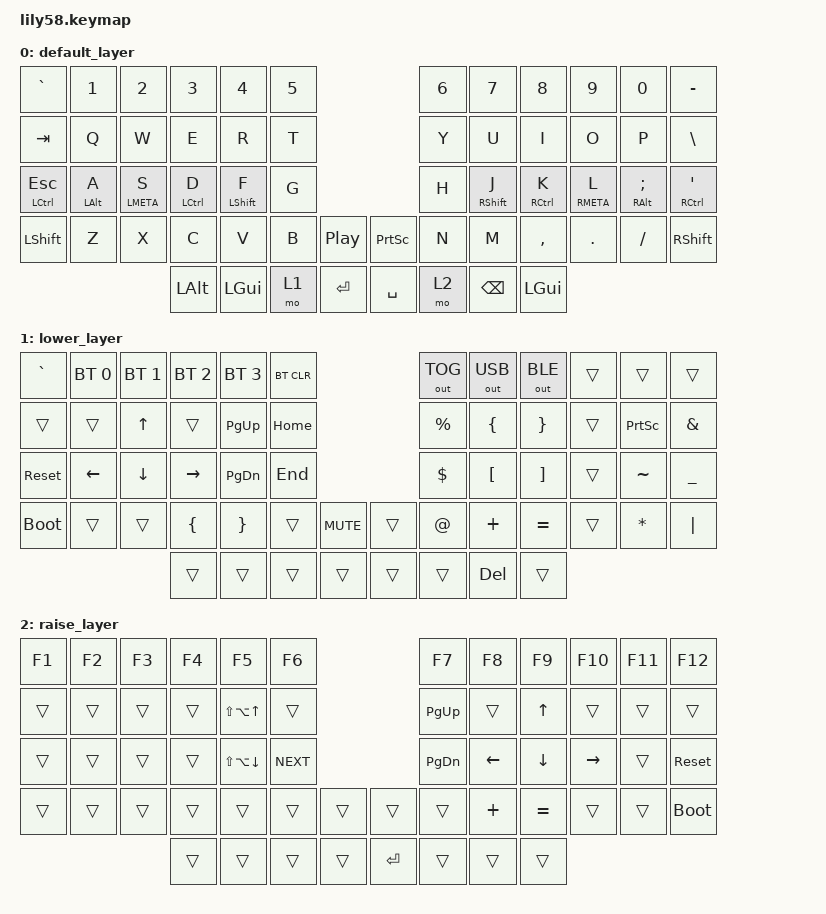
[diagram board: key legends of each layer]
/*
 * Copyright (c) 2020 The ZMK Contributors
 *
 * SPDX-License-Identifier: MIT
 */

#include <behaviors.dtsi>
#include <dt-bindings/zmk/bt.h>
#include <dt-bindings/zmk/keys.h>
#include <dt-bindings/zmk/outputs.h>

/ {
    behaviors {
        ht: hold_tap {
            compatible = "zmk,behavior-hold-tap";
            flavor = "balanced";
            tapping-term-ms = <300>;
            label = "HOLD_TAP";
            #binding-cells = <2>;
            bindings = <&kp>, <&kp>;
        };

        hm: homerow_mods {
            compatible = "zmk,behavior-hold-tap";
            label = "HOMEROW_MODS";
            #binding-cells = <2>;
            tapping-term-ms = <250>;
            flavor = "tap-preferred";
            bindings = <&kp>, <&kp>;
        };
    };

    combos {
        compatible = "zmk,combos";

        tab {
            bindings = <&kp TAB>;
            key-positions = <14 15>;
        };
    };

    keymap {
        compatible = "zmk,keymap";

        default_layer {
            bindings = <
&kp GRAVE      &kp N1      &kp N2       &kp N3       &kp N4       &kp N5                          &kp N6  &kp N7       &kp N8       &kp N9       &kp N0         &kp MINUS
&kp TAB        &kp Q       &kp W        &kp E        &kp R        &kp T                           &kp Y   &kp U        &kp I        &kp O        &kp P          &kp BSLH
&mt LCTRL ESC  &hm LALT A  &hm LMETA S  &hm LCTRL D  &hm LSHFT F  &kp G                           &kp H   &hm RSHFT J  &hm RCTRL K  &hm RMETA L  &hm RALT SEMI  &ht RCTRL SQT
&kp LSHFT      &kp Z       &kp X        &kp C        &kp V        &kp B   &kp C_PP     &kp PSCRN  &kp N   &kp M        &kp COMMA    &kp DOT      &kp FSLH       &kp RSHFT
                                        &kp LALT     &kp LGUI     &mo 1   &kp ENTER    &kp SPACE  &mo 2   &kp BSPC     &kp LGUI
            >;
        };

        lower_layer {
            bindings = <
&kp GRAVE    &bt BT_SEL 0  &bt BT_SEL 1  &bt BT_SEL 2  &bt BT_SEL 3  &bt BT_CLR                        &out OUT_TOG  &out OUT_USB  &out OUT_BLE  &trans  &trans     &trans
&trans       &trans        &kp UP        &trans        &kp PG_UP     &kp HOME                          &kp PRCNT     &kp LBRC      &kp RBRC      &trans  &kp PSCRN  &kp AMPS
&sys_reset   &kp LEFT      &kp DOWN      &kp RIGHT     &kp PG_DN     &kp END                           &kp DLLR      &kp LBKT      &kp RBKT      &trans  &kp TILDE  &kp UNDER
&bootloader  &trans        &trans        &kp LBRC      &kp RBRC      &trans      &kp C_MUTE    &trans  &kp AT        &kp PLUS      &kp EQUAL     &trans  &kp STAR   &kp PIPE
                                         &trans        &trans        &trans      &trans        &trans  &trans        &kp DEL       &trans
            >;
        };

        raise_layer {
            bindings = <
&kp F1  &kp F2  &kp F3  &kp F4  &kp F5            &kp F6                           &kp F7     &kp F8    &kp F9     &kp F10    &kp F11  &kp F12
&trans  &trans  &trans  &trans  &kp LS(LA(UP))    &trans                           &kp PG_UP  &trans    &kp UP     &trans     &trans   &trans
&trans  &trans  &trans  &trans  &kp LS(LA(DOWN))  &kp C_NEXT                       &kp PG_DN  &kp LEFT  &kp DOWN   &kp RIGHT  &trans   &sys_reset
&trans  &trans  &trans  &trans  &trans            &trans      &trans    &trans     &trans     &kp PLUS  &kp EQUAL  &trans     &trans   &bootloader
                        &trans  &trans            &trans      &trans    &kp ENTER  &trans     &trans    &trans
            >;
        };
    };
};
